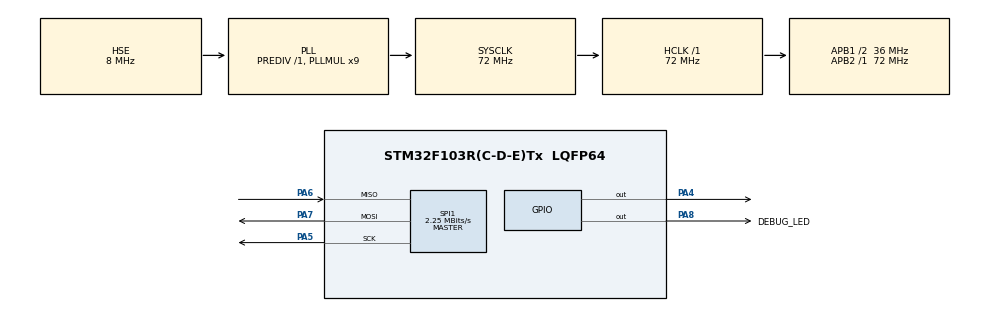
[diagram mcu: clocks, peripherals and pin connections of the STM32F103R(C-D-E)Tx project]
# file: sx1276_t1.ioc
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Mcu.Family=STM32F1
Mcu.Name=STM32F103R(C-D-E)Tx
Mcu.Package=LQFP64
NVIC.PriorityGroup=NVIC_PRIORITYGROUP_4
PA13.Mode=Serial_Wire
PA13.Signal=SYS_JTMS-SWDIO
PA14.Mode=Serial_Wire
PA14.Signal=SYS_JTCK-SWCLK
PA4.GPIO_Speed=GPIO_SPEED_FREQ_HIGH
PA4.PinState=GPIO_PIN_SET
PA4.Signal=GPIO_Output
PA5.Mode=Full_Duplex_Master
PA5.Signal=SPI1_SCK
PA6.Mode=Full_Duplex_Master
PA6.Signal=SPI1_MISO
PA7.Mode=Full_Duplex_Master
PA7.Signal=SPI1_MOSI
PA8.GPIO_Label=DEBUG_LED
PA8.Signal=GPIO_Output
PD0-OSC_IN.Mode=HSE-External-Oscillator
PD0-OSC_IN.Signal=RCC_OSC_IN
PD1-OSC_OUT.Mode=HSE-External-Oscillator
PD1-OSC_OUT.Signal=RCC_OSC_OUT
ProjectManager.HeapSize=0x200
ProjectManager.StackSize=0x400
ProjectManager.TargetToolchain=MDK-ARM V5
RCC.AHBFreq_Value=72000000
RCC.APB1CLKDivider=RCC_HCLK_DIV2
RCC.APB1Freq_Value=36000000
RCC.APB1TimFreq_Value=72000000
RCC.APB2Freq_Value=72000000
RCC.APB2TimFreq_Value=72000000
RCC.HCLKFreq_Value=72000000
RCC.PLLMUL=RCC_PLL_MUL9
RCC.PLLSourceVirtual=RCC_PLLSOURCE_HSE
RCC.SYSCLKFreq_VALUE=72000000
RCC.SYSCLKSource=RCC_SYSCLKSOURCE_PLLCLK
RCC.USBFreq_Value=72000000
SPI1.BaudRatePrescaler=SPI_BAUDRATEPRESCALER_32
SPI1.CalculateBaudRate=2.25 MBits/s
SPI1.Direction=SPI_DIRECTION_2LINES
SPI1.Mode=SPI_MODE_MASTER
SPI1.VirtualType=VM_MASTER
board=custom

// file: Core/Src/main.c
/* USER CODE BEGIN Header */
/*
20260423 t1.1
20260423 t1.0 match to ESP32 (sx1276_v1.ino)
*/
/**
  ******************************************************************************
  * @file           : main.c
  * @brief          : Main program body
  ******************************************************************************
  * @attention
  *
  * Copyright (c) 2026 STMicroelectronics.
  * All rights reserved.
  *
  * This software is licensed under terms that can be found in the LICENSE file
  * in the root directory of this software component.
  * If no LICENSE file comes with this software, it is provided AS-IS.
  *
  ******************************************************************************
  */
/* USER CODE END Header */
#include "main.h"
#include "lora_sx1276.h"

SPI_HandleTypeDef hspi1;

/* USER CODE BEGIN PV */
lora_sx1276 myLora; ///

/* USER CODE END PV */

void SystemClock_Config(void);
static void MX_GPIO_Init(void);
static void MX_SPI1_Init(void);

int main(void)
{

  /* MCU Configuration--------------------------------------------------------*/

  /* Reset of all peripherals, Initializes the Flash interface and the Systick. */
  HAL_Init();

  /* Configure the system clock */
  SystemClock_Config();

  /* Initialize all configured peripherals */
  MX_GPIO_Init();
  MX_SPI1_Init();
  /* USER CODE BEGIN 2 */
	// init Ferq. 433MHz
  uint8_t status = lora_init(&myLora, &hspi1, GPIOA, GPIO_PIN_4, 433000000);

  if (status == LORA_OK) {
      for(int i=0; i<10; i++) {
          HAL_GPIO_TogglePin(DEBUG_LED_GPIO_Port, DEBUG_LED_Pin);
          HAL_Delay(100);
      }
  }
	else {
      HAL_GPIO_WritePin(DEBUG_LED_GPIO_Port, DEBUG_LED_Pin, GPIO_PIN_SET);
  }

  /* USER CODE END 2 */

	/* Infinite loop */
	/* USER CODE BEGIN WHILE */
  uint32_t msgCount = 0;
  char msgPayload[20];

  while (1)
  {
    char msgPayload[32];
    snprintf(msgPayload, sizeof(msgPayload), "%d", msgCount++);

    if (lora_send_packet_blocking(&myLora, (uint8_t*)msgPayload, strlen(msgPayload), 1000) == LORA_OK) {

        HAL_GPIO_WritePin(DEBUG_LED_GPIO_Port, DEBUG_LED_Pin, GPIO_PIN_SET);
        HAL_Delay(50);
        HAL_GPIO_WritePin(DEBUG_LED_GPIO_Port, DEBUG_LED_Pin, GPIO_PIN_RESET);
        HAL_Delay(50);
        HAL_GPIO_WritePin(DEBUG_LED_GPIO_Port, DEBUG_LED_Pin, GPIO_PIN_SET);
        HAL_Delay(50);
        HAL_GPIO_WritePin(DEBUG_LED_GPIO_Port, DEBUG_LED_Pin, GPIO_PIN_RESET);
    }

    HAL_Delay(3000);
	}
    /* USER CODE END WHILE */

}

void SystemClock_Config(void)
{
  RCC_OscInitTypeDef RCC_OscInitStruct = {0};
  RCC_ClkInitTypeDef RCC_ClkInitStruct = {0};

  /** Initializes the RCC Oscillators according to the specified parameters
  * in the RCC_OscInitTypeDef structure.
  */
  RCC_OscInitStruct.OscillatorType = RCC_OSCILLATORTYPE_HSE;
  RCC_OscInitStruct.HSEState = RCC_HSE_ON;
  RCC_OscInitStruct.HSEPredivValue = RCC_HSE_PREDIV_DIV1;
  RCC_OscInitStruct.HSIState = RCC_HSI_ON;
  RCC_OscInitStruct.PLL.PLLState = RCC_PLL_ON;
  RCC_OscInitStruct.PLL.PLLSource = RCC_PLLSOURCE_HSE;
  RCC_OscInitStruct.PLL.PLLMUL = RCC_PLL_MUL9;
  if (HAL_RCC_OscConfig(&RCC_OscInitStruct) != HAL_OK)
  {
    Error_Handler();
  }

  /** Initializes the CPU, AHB and APB buses clocks
  */
  RCC_ClkInitStruct.ClockType = RCC_CLOCKTYPE_HCLK|RCC_CLOCKTYPE_SYSCLK
                              |RCC_CLOCKTYPE_PCLK1|RCC_CLOCKTYPE_PCLK2;
  RCC_ClkInitStruct.SYSCLKSource = RCC_SYSCLKSOURCE_PLLCLK;
  RCC_ClkInitStruct.AHBCLKDivider = RCC_SYSCLK_DIV1;
  RCC_ClkInitStruct.APB1CLKDivider = RCC_HCLK_DIV2;
  RCC_ClkInitStruct.APB2CLKDivider = RCC_HCLK_DIV1;

  if (HAL_RCC_ClockConfig(&RCC_ClkInitStruct, FLASH_LATENCY_2) != HAL_OK)
  {
    Error_Handler();
  }
}

static void MX_SPI1_Init(void)
{

  /* SPI1 parameter configuration*/
  hspi1.Instance = SPI1;
  hspi1.Init.Mode = SPI_MODE_MASTER;
  hspi1.Init.Direction = SPI_DIRECTION_2LINES;
  hspi1.Init.DataSize = SPI_DATASIZE_8BIT;
  hspi1.Init.CLKPolarity = SPI_POLARITY_LOW;
  hspi1.Init.CLKPhase = SPI_PHASE_1EDGE;
  hspi1.Init.NSS = SPI_NSS_SOFT;
  hspi1.Init.BaudRatePrescaler = SPI_BAUDRATEPRESCALER_32;
  hspi1.Init.FirstBit = SPI_FIRSTBIT_MSB;
  hspi1.Init.TIMode = SPI_TIMODE_DISABLE;
  hspi1.Init.CRCCalculation = SPI_CRCCALCULATION_DISABLE;
  hspi1.Init.CRCPolynomial = 10;
  if (HAL_SPI_Init(&hspi1) != HAL_OK)
  {
    Error_Handler();
  }

}

static void MX_GPIO_Init(void)
{
  GPIO_InitTypeDef GPIO_InitStruct = {0};

  /* GPIO Ports Clock Enable */
  __HAL_RCC_GPIOD_CLK_ENABLE();
  __HAL_RCC_GPIOA_CLK_ENABLE();

  /*Configure GPIO pin Output Level */
  HAL_GPIO_WritePin(GPIOA, GPIO_PIN_4, GPIO_PIN_SET);

  /*Configure GPIO pin Output Level */
  HAL_GPIO_WritePin(DEBUG_LED_GPIO_Port, DEBUG_LED_Pin, GPIO_PIN_RESET);

  /*Configure GPIO pin : PA4 */
  GPIO_InitStruct.Pin = GPIO_PIN_4;
  GPIO_InitStruct.Mode = GPIO_MODE_OUTPUT_PP;
  GPIO_InitStruct.Pull = GPIO_NOPULL;
  GPIO_InitStruct.Speed = GPIO_SPEED_FREQ_HIGH;
  HAL_GPIO_Init(GPIOA, &GPIO_InitStruct);

  /*Configure GPIO pin : DEBUG_LED_Pin */
  GPIO_InitStruct.Pin = DEBUG_LED_Pin;
  GPIO_InitStruct.Mode = GPIO_MODE_OUTPUT_PP;
  GPIO_InitStruct.Pull = GPIO_NOPULL;
  GPIO_InitStruct.Speed = GPIO_SPEED_FREQ_LOW;
  HAL_GPIO_Init(DEBUG_LED_GPIO_Port, &GPIO_InitStruct);

}

void Error_Handler(void)
{
  __disable_irq();
  while (1)
  {
  }
}
